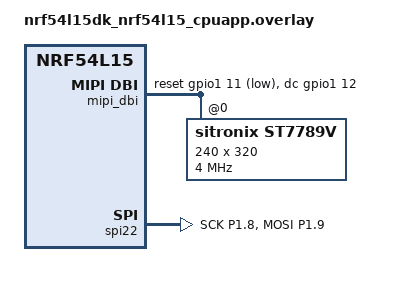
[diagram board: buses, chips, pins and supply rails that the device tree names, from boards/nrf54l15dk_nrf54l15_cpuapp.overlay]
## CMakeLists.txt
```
set(BOARD nrf54l15dk/nrf54l15/cpuapp)
cmake_minimum_required(VERSION 3.13.0)
find_package(Zephyr)

project(app LANGUAGES C)

target_sources(app PRIVATE src/main.c)
```

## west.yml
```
manifest:
  remotes:
    - name: zephyrproject-rtos
      url-base: https://github.com/zephyrproject-rtos
  projects:
    - name: zephyr
      remote: zephyrproject-rtos
      revision: v4.3.0
      import: true
  self:
    path: mypod
```

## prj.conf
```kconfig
CONFIG_DISPLAY=y
CONFIG_GPIO=y
CONFIG_SPI=y
CONFIG_ST7789V=y
CONFIG_LOG=y
CONFIG_LOG_DEFAULT_LEVEL=3
CONFIG_LOG_MODE_IMMEDIATE=y
CONFIG_USE_SEGGER_RTT=y
CONFIG_LOG_BACKEND_RTT=y
```

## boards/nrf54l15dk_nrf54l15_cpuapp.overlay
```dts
/*
 * Adafruit 2.0" 240x320 ST7789 TFT wiring for nRF54L15-DK.
 */

/ {
	chosen {
		zephyr,display = &st7789v;
	};

	mipi_dbi: mipi_dbi {
		compatible = "zephyr,mipi-dbi-spi";
		spi-dev = <&spi22>;
		dc-gpios = <&gpio1 12 GPIO_ACTIVE_HIGH>;
		reset-gpios = <&gpio1 11 GPIO_ACTIVE_LOW>;
		write-only;
		#address-cells = <1>;
		#size-cells = <0>;

		st7789v: st7789v@0 {
			compatible = "sitronix,st7789v";
			reg = <0>;
			mipi-max-frequency = <DT_FREQ_M(4)>;
			ready-time-ms = <120>;

			width = <240>;
			height = <320>;
			x-offset = <0>;
			y-offset = <0>;

			vcom = <0x28>;
			gctrl = <0x35>;
			vrhs = <0x10>;
			vdvs = <0x20>;
			mdac = <0x00>;
			gamma = <0x01>;
			colmod = <0x55>;
			lcm = <0x2c>;
			porch-param = [0c 0c 00 33 33];
			cmd2en-param = [5a 69 02 00];
			pwctrl1-param = [a4 a1];
			pvgam-param = [d0 00 02 07 0a 28 32 44 42 06 0e 12 14 17];
			nvgam-param = [d0 00 02 07 0a 28 31 54 47 0e 1c 17 1b 1e];
			ram-param = [00 F0];
			rgb-param = [40 02 14];
			mipi-mode = "MIPI_DBI_MODE_SPI_4WIRE";
		};
	};
};

&pinctrl {
	spi22_default: spi22_default {
		group1 {
			psels = <NRF_PSEL(SPIM_SCK, 1, 8)>,
				<NRF_PSEL(SPIM_MOSI, 1, 9)>;
		};
	};

	spi22_sleep: spi22_sleep {
		group1 {
			psels = <NRF_PSEL(SPIM_SCK, 1, 8)>,
				<NRF_PSEL(SPIM_MOSI, 1, 9)>;
			low-power-enable;
		};
	};
};

&spi22 {
	status = "okay";
	cs-gpios = <&gpio1 13 GPIO_ACTIVE_LOW>;
	pinctrl-0 = <&spi22_default>;
	pinctrl-1 = <&spi22_sleep>;
	pinctrl-names = "default", "sleep";
};
```

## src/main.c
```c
#include <zephyr/device.h>
#include <zephyr/drivers/display.h>
#include <zephyr/drivers/gpio.h>
#include <zephyr/kernel.h>
#include <zephyr/logging/log.h>
#include <zephyr/sys/byteorder.h>
#include <zephyr/sys/util.h>
#include <string.h>

LOG_MODULE_REGISTER(app);

#define TEXT_STR "Hello world"
#define GLYPH_W 5
#define GLYPH_H 7
#define GLYPH_SPACING 1

static const uint8_t *get_glyph(char c)
{
	static const uint8_t space[GLYPH_H] = { 0, 0, 0, 0, 0, 0, 0 };
	static const uint8_t H[GLYPH_H] = { 0x11, 0x11, 0x11, 0x1F, 0x11, 0x11, 0x11 };
	static const uint8_t e[GLYPH_H] = { 0x00, 0x0E, 0x11, 0x1F, 0x10, 0x0E, 0x00 };
	static const uint8_t l[GLYPH_H] = { 0x04, 0x04, 0x04, 0x04, 0x04, 0x04, 0x00 };
	static const uint8_t o[GLYPH_H] = { 0x00, 0x0E, 0x11, 0x11, 0x11, 0x0E, 0x00 };
	static const uint8_t w[GLYPH_H] = { 0x00, 0x11, 0x11, 0x15, 0x15, 0x0A, 0x00 };
	static const uint8_t r[GLYPH_H] = { 0x00, 0x16, 0x19, 0x10, 0x10, 0x10, 0x00 };
	static const uint8_t d[GLYPH_H] = { 0x01, 0x01, 0x0D, 0x13, 0x11, 0x0F, 0x00 };

	switch (c) {
	case 'H':
		return H;
	case 'e':
		return e;
	case 'l':
		return l;
	case 'o':
		return o;
	case 'w':
		return w;
	case 'r':
		return r;
	case 'd':
		return d;
	case ' ':
	default:
		return space;
	}
}

static uint16_t pack_rgb565(enum display_pixel_format format, uint8_t r5, uint8_t g6, uint8_t b5)
{
	if (format == PIXEL_FORMAT_BGR_565) {
		uint8_t tmp = r5;

		r5 = b5;
		b5 = tmp;
	}

	return sys_cpu_to_be16((r5 << 11) | (g6 << 5) | b5);
}

static void draw_text_rgb565(uint16_t *buf, uint16_t buf_w, uint16_t buf_h,
			     const char *text, enum display_pixel_format format)
{
	const uint16_t fg = pack_rgb565(format, 31, 63, 31);
	const uint16_t bg = pack_rgb565(format, 0, 0, 0);
	size_t text_len = strlen(text);

	for (uint16_t y = 0; y < buf_h; y++) {
		for (uint16_t x = 0; x < buf_w; x++) {
			buf[y * buf_w + x] = bg;
		}
	}

	for (size_t i = 0; i < text_len; i++) {
		const uint8_t *glyph = get_glyph(text[i]);
		uint16_t x0 = i * (GLYPH_W + GLYPH_SPACING);

		for (uint16_t y = 0; y < GLYPH_H; y++) {
			uint8_t row = glyph[y];

			for (uint16_t x = 0; x < GLYPH_W; x++) {
				if (row & BIT(GLYPH_W - 1 - x)) {
					uint16_t px = x0 + x;

					if (px < buf_w) {
						buf[y * buf_w + px] = fg;
					}
				}
			}
		}
	}
}

static int fill_screen_color(const struct device *display, const struct display_capabilities *caps,
			     enum display_pixel_format format, uint8_t r5, uint8_t g6, uint8_t b5)
{
	static uint16_t line_buf[320];
	struct display_buffer_descriptor desc = {
		.width = 0,
		.height = 1,
		.pitch = 0,
	};
	uint16_t color;

	if (caps->x_resolution > ARRAY_SIZE(line_buf)) {
		LOG_ERR("Line buffer too small for width %u", caps->x_resolution);
		return -EINVAL;
	}

	color = pack_rgb565(format, r5, g6, b5);
	for (uint16_t x = 0; x < caps->x_resolution; x++) {
		line_buf[x] = color;
	}

	desc.width = caps->x_resolution;
	desc.pitch = caps->x_resolution;
	desc.buf_size = caps->x_resolution * sizeof(line_buf[0]);

	for (uint16_t y = 0; y < caps->y_resolution; y++) {
		int rc = display_write(display, 0, y, &desc, line_buf);

		if (rc != 0) {
			LOG_ERR("display_write failed at line %u: %d", y, rc);
			return rc;
		}
	}

	return 0;
}

int main(void)
{
	const struct device *display = DEVICE_DT_GET(DT_CHOSEN(zephyr_display));
	struct display_capabilities caps;
	enum display_pixel_format format = PIXEL_FORMAT_RGB_565;
	static uint16_t text_buf[(sizeof(TEXT_STR) - 1) * (GLYPH_W + GLYPH_SPACING) * GLYPH_H];
	struct display_buffer_descriptor desc;
	uint16_t text_w;
	int rc;

	if (!device_is_ready(display)) {
		LOG_ERR("Display not ready");
		return 0;
	}
	LOG_INF("Display device ready");

	display_get_capabilities(display, &caps);
	LOG_INF("Display %ux%u fmt=0x%08x", caps.x_resolution, caps.y_resolution,
		caps.supported_pixel_formats);
	if (!(caps.supported_pixel_formats & PIXEL_FORMAT_RGB_565) &&
	    !(caps.supported_pixel_formats & PIXEL_FORMAT_BGR_565)) {
		LOG_ERR("No RGB/BGR565 support (formats=0x%08x)", caps.supported_pixel_formats);
		return 0;
	}
	if (caps.supported_pixel_formats & PIXEL_FORMAT_BGR_565) {
		format = PIXEL_FORMAT_BGR_565;
	}

	rc = display_set_pixel_format(display, format);
	if (rc != 0) {
		LOG_ERR("display_set_pixel_format failed: %d", rc);
		return 0;
	}
	LOG_INF("display_set_pixel_format ok");

	rc = display_blanking_off(display);
	if (rc != 0) {
		LOG_ERR("display_blanking_off failed: %d", rc);
		return 0;
	}
	LOG_INF("display_blanking_off ok");
	display_clear(display);
	LOG_INF("display_clear ok");
	k_sleep(K_MSEC(10));

	rc = fill_screen_color(display, &caps, format, 31, 0, 0);
	if (rc == 0) {
		k_sleep(K_MSEC(300));
		rc = fill_screen_color(display, &caps, format, 0, 63, 0);
	}
	if (rc == 0) {
		k_sleep(K_MSEC(300));
		rc = fill_screen_color(display, &caps, format, 0, 0, 31);
	}
	if (rc != 0) {
		LOG_ERR("fill_screen_color failed: %d", rc);
		return 0;
	}
	LOG_INF("fill_screen_color ok");

	text_w = (sizeof(TEXT_STR) - 1) * (GLYPH_W + GLYPH_SPACING);
	draw_text_rgb565(text_buf, text_w, GLYPH_H, TEXT_STR, format);

	desc.buf_size = text_w * GLYPH_H * 2;
	desc.width = text_w;
	desc.height = GLYPH_H;
	desc.pitch = text_w;

	uint16_t x_pos = 0;
	uint16_t y_pos = 0;

	if (caps.x_resolution > text_w) {
		x_pos = (caps.x_resolution - text_w) / 2;
	}
	if (caps.y_resolution > GLYPH_H) {
		y_pos = (caps.y_resolution - GLYPH_H) / 2;
	}

	rc = display_write(display, x_pos, y_pos, &desc, text_buf);
	if (rc != 0) {
		LOG_ERR("display_write failed: %d", rc);
		return 0;
	}
	LOG_INF("display_write ok");
	LOG_INF("Hello world drawn on display (%ux%u)", desc.width, desc.height);

	for (;;) {
		k_sleep(K_FOREVER);
	}

	return 0;
}
```
